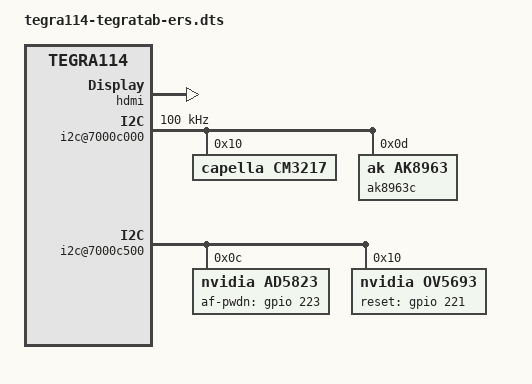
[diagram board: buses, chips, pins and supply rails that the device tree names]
/*
 * Copyright (c) 2013, NVIDIA CORPORATION.  All rights reserved.
 *
 * This program is free software; you can redistribute it and/or modify it
 * under the terms and conditions of the GNU General Public License,
 * version 2, as published by the Free Software Foundation.
 *
 * This program is distributed in the hope it will be useful, but WITHOUT
 * ANY WARRANTY; without even the implied warranty of MERCHANTABILITY or
 * FITNESS FOR A PARTICULAR PURPOSE.  See the GNU General Public License for
 * more details.
 *
 * You should have received a copy of the GNU General Public License
 * along with this program.  If not, see <http://www.gnu.org/licenses/>.
 */

/dts-v1/;

/include/ "tegra114-tegratab-common.dtsi"

/ {
	host1x {
		status = "okay";
		hdmi {
			status = "okay";
		};
	};

	/* GEN1 */
	i2c@7000c000 {
		status = "okay";
		clock-frequency = <100000>;

		/* ALS sensor */
		cm3217@10 {
			compatible = "capella,cm3217";
			reg = <0x10>;
			levels = <10 160 225 320 640 1280 2600 5800 8000 10240>;
			golden_adc = <0>;
		};

		/* Compass sensor */
		ak8963c@0d {
			compatible = "ak,ak8963";
			reg = <0x0d>;
			orientation = [ff 00 00 00 ff 00 00 00 01];
			config = "mpu";
		};
	};

	/* CAM */
	i2c@7000c500 {
		status = "okay";
		ad5823@0c {
			compatible = "nvidia,ad5823";
			reg = <0x0c>;
			af-pwdn-gpios = <&gpio 223 0>; /* gpio PBB7 */
		};
		ov5693@10 {
			compatible = "nvidia,ov5693";
			reg = <0x10>;
			nvidia,num = <5693>;
			nvidia,dev-name = "camera";
			nvidia,use-vcm-vdd;
			reset-gpios = <&gpio 221 0>; /* gpio PBB5 */
		};
	};
};
